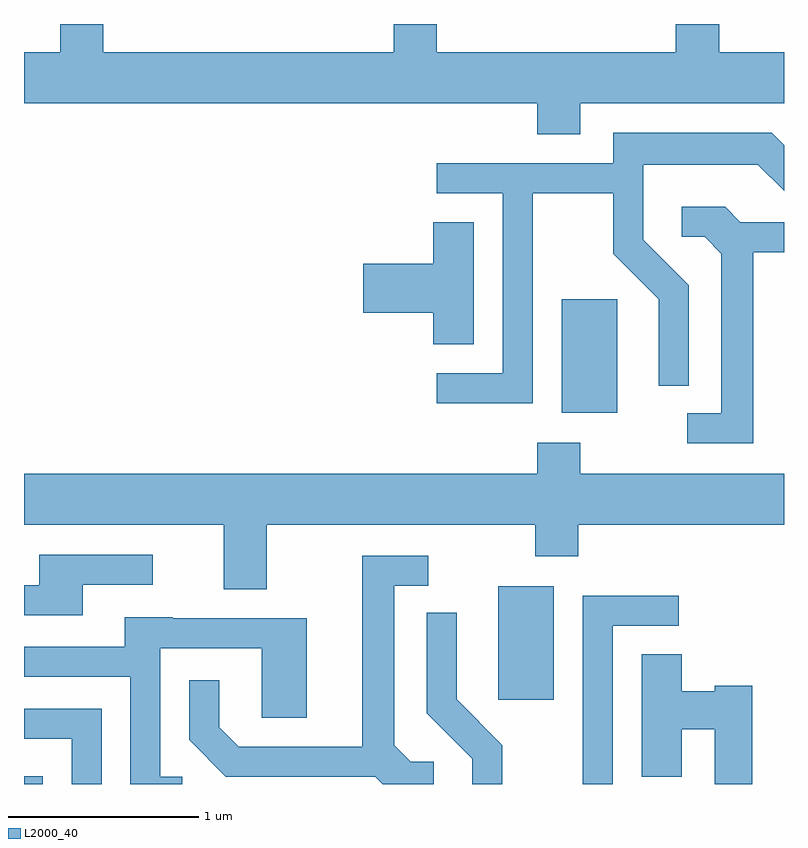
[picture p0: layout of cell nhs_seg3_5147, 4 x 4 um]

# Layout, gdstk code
import gdstk
lib = gdstk.Library(unit=1e-6, precision=1e-09)
def R(c, l, rs):  # rectangles x0, y0, x1, y1
    for r in rs: c.add(gdstk.rectangle(r[:2], r[2:], *l))
def P(c, l, *ps):  # polygons
    for p in ps: c.add(gdstk.Polygon(p, *l))
L2000_40 = (2000, 40)

nhs_seg3_5147 = lib.new_cell('nhs_seg3_5147')
R(nhs_seg3_5147, L2000_40, [(335.611,1217.892,335.709,1217.934), (338.106,1218.336,338.399,1218.934), (338.441,1219.846,338.734,1220.444)])
P(nhs_seg3_5147, L2000_40, [(338.539,1221.476),(339.611,1221.476),(339.611,1221.744),(339.269,1221.744),(339.269,1221.892),(339.041,1221.892),(339.041,1221.744),(337.784,1221.744),(337.784,1221.892),(337.556,1221.892),(337.556,1221.744),(336.029,1221.744),(336.029,1221.892),(335.801,1221.892),(335.801,1221.744),(335.611,1221.744),(335.611,1221.476),(338.311,1221.476),(338.311,1221.311),(338.539,1221.311)],
  [(338.289,1221.001),(338.711,1221.001),(338.711,1220.684),(338.951,1220.444),(338.951,1219.988),(339.109,1219.988),(339.109,1220.517),(338.869,1220.757),(338.869,1221.151),(339.474,1221.151),(339.611,1221.014),(339.611,1221.255),(339.547,1221.319),(338.711,1221.319),(338.711,1221.159),(337.783,1221.159),(337.783,1221.001),(338.131,1221.001),(338.131,1220.054),(337.783,1220.054),(337.783,1219.896),(338.289,1219.896)],
  [(339.449,1220.691),(339.611,1220.691),(339.611,1220.849),(339.382,1220.849),(339.302,1220.929),(339.073,1220.929),(339.073,1220.771),(339.194,1220.771),(339.281,1220.684),(339.281,1219.844),(339.103,1219.844),(339.103,1219.686),(339.449,1219.686)],
  [(337.979,1220.849),(337.766,1220.849),(337.766,1220.629),(337.396,1220.629),(337.396,1220.371),(337.766,1220.371),(337.766,1220.206),(337.979,1220.206)],
  [(336.889,1219.256),(338.301,1219.256),(338.301,1219.091),(338.529,1219.091),(338.529,1219.256),(339.611,1219.256),(339.611,1219.524),(338.539,1219.524),(338.539,1219.689),(338.311,1219.689),(338.311,1219.524),(335.611,1219.524),(335.611,1219.256),(336.661,1219.256),(336.661,1218.916),(336.889,1218.916)],
  [(335.919,1218.941),(336.288,1218.941),(336.288,1219.099),(335.691,1219.099),(335.691,1218.939),(335.611,1218.939),(335.611,1218.781),(335.919,1218.781)],
  [(337.768,1218.009),(337.647,1218.009),(337.559,1218.097),(337.559,1218.936),(337.738,1218.936),(337.738,1219.094),(337.391,1219.094),(337.391,1218.089),(336.742,1218.089),(336.639,1218.192),(336.639,1218.438),(336.481,1218.438),(336.481,1218.124),(336.674,1217.931),(337.459,1217.931),(337.498,1217.892),(337.768,1217.892)],
  [(338.709,1218.726),(339.058,1218.726),(339.058,1218.884),(338.551,1218.884),(338.551,1217.892),(338.709,1217.892)],
  [(338.129,1218.097),(337.889,1218.337),(337.889,1218.793),(337.731,1218.793),(337.731,1218.264),(337.971,1218.024),(337.971,1217.892),(338.129,1217.892)],
  [(336.443,1217.929),(336.329,1217.929),(336.329,1218.606),(336.861,1218.606),(336.861,1218.241),(337.099,1218.241),(337.099,1218.764),(336.395,1218.764),(336.395,1218.769),(336.141,1218.769),(336.141,1218.614),(335.611,1218.614),(335.611,1218.456),(336.171,1218.456),(336.171,1217.892),(336.443,1217.892)],
  [(339.444,1218.409),(339.246,1218.409),(339.246,1218.379),(339.074,1218.379),(339.074,1218.574),(338.861,1218.574),(338.861,1217.931),(339.074,1217.931),(339.074,1218.181),(339.246,1218.181),(339.246,1217.892),(339.444,1217.892)],
  [(336.019,1218.289),(335.611,1218.289),(335.611,1218.131),(335.861,1218.131),(335.861,1217.892),(336.019,1217.892)])

lib.write_gds('nhs_seg3_5147.gds')
